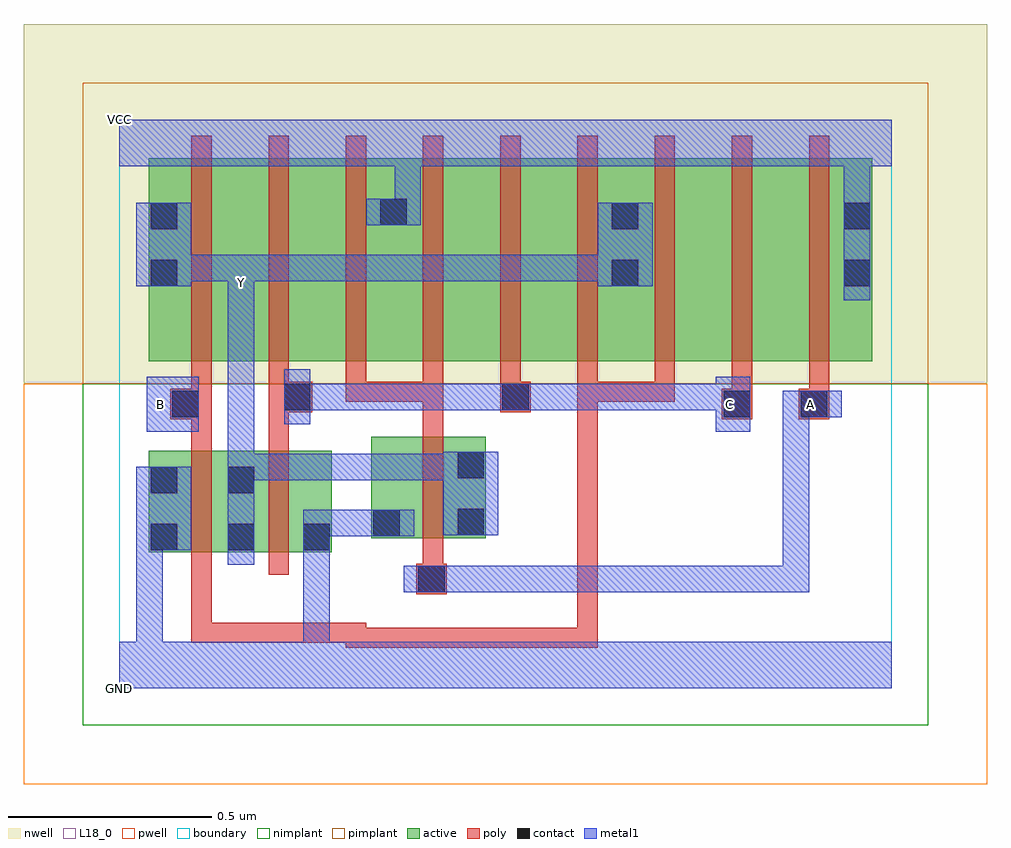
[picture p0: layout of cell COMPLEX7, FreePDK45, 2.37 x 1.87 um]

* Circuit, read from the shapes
.subckt COMPLEX7 A B C GND VCC Y
M1 Y B GND VSUBS nfet w=0.25u l=0.05u
M2 GND C Y VSUBS nfet w=0.25u l=0.05u
M3 Y A GND VSUBS nfet w=0.25u l=0.05u
M4 n1 B Y n2 pfet w=0.5u l=0.05u
M5 n3 C n1 n2 pfet w=0.5u l=0.05u
M6 VCC A n3 n2 pfet w=0.5u l=0.05u
M7 n4 A VCC n2 pfet w=0.5u l=0.05u
M8 n5 C n4 n2 pfet w=0.5u l=0.05u
M9 Y B n5 n2 pfet w=0.5u l=0.05u
M10 n6 B Y n2 pfet w=0.5u l=0.05u
M11 n7 C n6 n2 pfet w=0.5u l=0.05u
M12 VCC A n7 n2 pfet w=0.5u l=0.05u
.ends

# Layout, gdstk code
import gdstk
lib = gdstk.Library(unit=1e-6, precision=1e-09)
def R(c, l, rs):  # rectangles x0, y0, x1, y1
    for r in rs: c.add(gdstk.rectangle(r[:2], r[2:], *l))
def A(c, l, x, y, w, h, nx, ny, dx, dy):  # array of equal rectangles
    R(c, l, [(x+i*dx, y+j*dy, x+i*dx+w, y+j*dy+h) for i in range(nx) for j in range(ny)])
active = (1, 0)
pwell = (2, 0)
nwell = (3, 0)
nimplant = (4, 0)
pimplant = (5, 0)
poly = (9, 0)
contact = (10, 0)
metal1 = (11, 0)
L18_0 = (18, 0)
boundary = (235, 0)

complex7 = lib.new_cell('COMPLEX7')
A(complex7, active, 0.297, 0.805, 0.19, 0.5, 3, 1, 0.57, 0)
A(complex7, active, 0.487, 0.805, 0.225, 0.5, 3, 1, 0.57, 0)
R(complex7, active, [(0.072,0.335,0.147,0.585), (0.072,0.335,0.337,0.585), (0.262,0.335,0.522,0.585), (0.262,0.335,0.337,0.55), (0.447,0.335,0.522,0.585), (0.62,0.37,0.695,0.62), (0.62,0.37,0.902,0.62), (0.827,0.37,0.902,0.62), (0.072,0.805,0.297,1.305), (0.072,0.805,0.177,1.2), (0.637,0.805,0.712,1.305), (0.637,0.805,0.867,1.305), (1.207,0.805,1.437,1.305), (1.207,0.805,1.282,1.2), (1.777,0.805,1.852,1.305)])
R(complex7, pwell, [(-0.235,-0.235,2.135,0.75)])
R(complex7, nwell, [(-0.235,0.75,2.135,1.635)])
R(complex7, nimplant, [(-0.09,-0.09,1.99,0.75)])
R(complex7, pimplant, [(-0.09,0.75,1.99,1.49)])
A(complex7, poly, 0.367, 0.705, 0.05, 0.095, 6, 1, 0.19, 0)
A(complex7, poly, 0.177, 0.75, 0.05, 0.61, 9, 1, 0.19, 0)
R(complex7, poly, [(0.557,0.1,0.74,0.15), (0.557,0.1,0.607,0.162), (0.69,0.1,0.74,0.15), (0.69,0.1,0.74,0.15), (0.69,0.1,0.74,0.15), (0.69,0.1,1.045,0.15), (0.995,0.1,1.045,0.15), (0.995,0.1,1.045,0.15), (0.995,0.1,1.045,0.15), (0.995,0.1,1.045,0.15), (0.995,0.1,1.045,0.15), (0.995,0.1,1.045,0.15), (0.995,0.1,1.045,0.15), (0.995,0.1,1.177,0.15), (1.127,0.1,1.177,0.15), (1.127,0.1,1.177,0.15), (1.127,0.1,1.177,0.15), (1.127,0.1,1.177,0.15), (1.127,0.1,1.177,0.15), (1.127,0.1,1.177,0.755), (0.177,0.112,0.227,0.162), (0.177,0.112,0.227,0.162), (0.177,0.112,0.227,0.162), (0.177,0.112,0.475,0.162), (0.177,0.112,0.227,0.33), (0.425,0.112,0.475,0.162), (0.425,0.112,0.475,0.162), (0.425,0.112,0.475,0.162), (0.425,0.112,0.607,0.162), (0.557,0.112,0.607,0.162), (0.557,0.112,0.607,0.162), (0.73,0.232,0.805,0.307), (0.747,0.257,0.797,0.365), (0.177,0.28,0.227,0.64), (0.367,0.28,0.417,0.64), (0.747,0.315,0.797,0.675), (0.177,0.59,0.227,0.712), (0.367,0.59,0.417,0.73), (0.747,0.625,0.797,0.755), (0.125,0.662,0.227,0.737), (1.482,0.662,1.557,0.737), (1.672,0.662,1.747,0.737), (0.367,0.68,0.475,0.755), (0.937,0.68,1.012,0.755), (0.177,0.687,0.227,0.8), (1.507,0.687,1.557,0.8), (1.697,0.687,1.747,0.8), (0.557,0.705,0.607,0.755), (0.557,0.705,0.797,0.755), (0.747,0.705,0.797,0.755), (0.747,0.705,0.797,0.755), (0.747,0.705,0.797,0.755), (1.127,0.705,1.177,0.755), (1.127,0.705,1.367,0.755), (1.317,0.705,1.367,0.755), (1.317,0.705,1.367,0.755), (1.317,0.705,1.367,0.755)])
R(complex7, contact, [(0.735,0.237,0.8,0.302), (0.077,0.34,0.142,0.405), (0.267,0.34,0.332,0.405), (0.452,0.34,0.517,0.405), (0.625,0.375,0.69,0.44), (0.832,0.377,0.897,0.442), (0.077,0.48,0.142,0.545), (0.267,0.48,0.332,0.545), (0.832,0.517,0.897,0.582), (0.13,0.667,0.195,0.732), (1.487,0.667,1.552,0.732), (1.677,0.667,1.742,0.732), (0.405,0.685,0.47,0.75), (0.942,0.685,1.007,0.75), (0.077,0.99,0.142,1.055), (1.212,0.99,1.277,1.055), (1.782,0.99,1.847,1.055), (0.077,1.13,0.142,1.195), (1.212,1.13,1.277,1.195), (1.782,1.13,1.847,1.195), (0.642,1.14,0.707,1.205)])
R(complex7, metal1, [(0,0,1.9,0.115), (0.042,0.05,0.107,0.115), (0.042,0.05,0.107,0.115), (0.042,0.05,0.107,0.115), (0.042,0.05,0.107,0.115), (0.042,0.05,0.107,0.405), (0.452,0.05,0.517,0.115), (0.452,0.05,0.517,0.115), (0.452,0.05,0.517,0.115), (0.452,0.05,0.517,0.115), (0.452,0.05,0.517,0.115), (0.452,0.05,0.517,0.115), (0.452,0.05,0.517,0.37), (0.7,0.237,0.835,0.302), (0.77,0.237,0.835,0.302), (0.77,0.237,0.835,0.302), (0.77,0.237,1.07,0.302), (1.005,0.237,1.07,0.302), (1.005,0.237,1.07,0.302), (1.005,0.237,1.07,0.302), (1.005,0.237,1.07,0.302), (1.005,0.237,1.07,0.302), (1.005,0.237,1.07,0.302), (1.005,0.237,1.07,0.302), (1.005,0.237,1.257,0.302), (1.192,0.237,1.257,0.302), (1.192,0.237,1.257,0.302), (1.192,0.237,1.257,0.302), (1.192,0.237,1.395,0.302), (1.33,0.237,1.395,0.302), (1.33,0.237,1.56,0.302), (1.495,0.237,1.56,0.302), (1.495,0.237,1.56,0.302), (1.495,0.237,1.56,0.302), (1.495,0.237,1.697,0.302), (1.632,0.237,1.697,0.302), (1.632,0.237,1.697,0.732), (0.267,0.305,0.332,0.58), (0.452,0.305,0.517,0.44), (0.042,0.34,0.107,0.405), (0.042,0.34,0.107,0.405), (0.042,0.34,0.177,0.545), (0.452,0.375,0.607,0.44), (0.542,0.375,0.607,0.44), (0.542,0.375,0.655,0.44), (0.59,0.375,0.725,0.44), (0.797,0.377,0.932,0.582), (0.267,0.512,0.47,0.577), (0.405,0.512,0.47,0.577), (0.405,0.512,0.47,0.577), (0.405,0.512,0.47,0.577), (0.405,0.512,0.607,0.577), (0.542,0.512,0.607,0.577), (0.542,0.512,0.655,0.577), (0.59,0.512,0.655,0.577), (0.59,0.512,0.745,0.577), (0.68,0.512,0.745,0.577), (0.68,0.512,0.862,0.577), (0.267,0.515,0.332,0.997), (0.067,0.632,0.195,0.767), (1.467,0.632,1.552,0.767), (0.405,0.65,0.47,0.785), (1.632,0.667,1.697,0.732), (1.632,0.667,1.697,0.732), (1.632,0.667,1.777,0.732), (0.405,0.685,0.47,0.75), (0.405,0.685,0.47,0.75), (0.405,0.685,0.607,0.75), (0.542,0.685,0.607,0.75), (0.542,0.685,0.655,0.75), (0.59,0.685,0.655,0.75), (0.59,0.685,0.792,0.75), (0.727,0.685,0.792,0.75), (0.727,0.685,0.792,0.75), (0.727,0.685,0.792,0.75), (0.727,0.685,0.972,0.75), (0.907,0.685,1.042,0.75), (0.977,0.685,1.07,0.75), (1.005,0.685,1.07,0.75), (1.005,0.685,1.207,0.75), (1.142,0.685,1.207,0.75), (1.142,0.685,1.207,0.75), (1.142,0.685,1.207,0.75), (1.142,0.685,1.395,0.75), (1.33,0.685,1.395,0.75), (1.33,0.685,1.395,0.75), (1.33,0.685,1.395,0.75), (1.33,0.685,1.532,0.75), (0.267,0.932,0.332,1.067), (1.782,0.955,1.847,1.23), (0.042,0.99,0.177,1.195), (1.177,0.99,1.312,1.195), (0.112,1.002,0.332,1.067), (0.267,1.002,0.332,1.067), (0.267,1.002,0.332,1.067), (0.267,1.002,0.332,1.067), (0.267,1.002,0.332,1.067), (0.267,1.002,0.47,1.067), (0.405,1.002,0.47,1.067), (0.405,1.002,0.47,1.067), (0.405,1.002,0.47,1.067), (0.405,1.002,0.607,1.067), (0.542,1.002,0.607,1.067), (0.542,1.002,0.655,1.067), (0.59,1.002,0.655,1.067), (0.59,1.002,0.792,1.067), (0.727,1.002,0.792,1.067), (0.727,1.002,0.792,1.067), (0.727,1.002,0.792,1.067), (0.727,1.002,0.98,1.067), (0.915,1.002,0.98,1.067), (0.915,1.002,0.98,1.067), (0.915,1.002,0.98,1.067), (0.915,1.002,1.242,1.067), (1.177,1.002,1.242,1.067), (1.177,1.002,1.242,1.067), (0.607,1.14,0.742,1.205), (0.677,1.14,0.742,1.35), (1.782,1.165,1.847,1.35), (0,1.285,1.9,1.4)])
R(complex7, L18_0, [(0,0,1.9,0.115), (0.042,0.05,0.107,0.115), (0.042,0.05,0.107,0.115), (0.042,0.05,0.107,0.115), (0.042,0.05,0.107,0.115), (0.042,0.05,0.107,0.405), (0.452,0.05,0.517,0.115), (0.452,0.05,0.517,0.115), (0.452,0.05,0.517,0.115), (0.452,0.05,0.517,0.115), (0.452,0.05,0.517,0.115), (0.452,0.05,0.517,0.115), (0.452,0.05,0.517,0.37), (0.7,0.237,0.835,0.302), (0.77,0.237,0.835,0.302), (0.77,0.237,0.835,0.302), (0.77,0.237,1.07,0.302), (1.005,0.237,1.07,0.302), (1.005,0.237,1.07,0.302), (1.005,0.237,1.07,0.302), (1.005,0.237,1.07,0.302), (1.005,0.237,1.07,0.302), (1.005,0.237,1.07,0.302), (1.005,0.237,1.07,0.302), (1.005,0.237,1.257,0.302), (1.192,0.237,1.257,0.302), (1.192,0.237,1.257,0.302), (1.192,0.237,1.257,0.302), (1.192,0.237,1.395,0.302), (1.33,0.237,1.395,0.302), (1.33,0.237,1.56,0.302), (1.495,0.237,1.56,0.302), (1.495,0.237,1.56,0.302), (1.495,0.237,1.56,0.302), (1.495,0.237,1.697,0.302), (1.632,0.237,1.697,0.302), (1.632,0.237,1.697,0.732), (0.267,0.305,0.332,0.58), (0.452,0.305,0.517,0.44), (0.042,0.34,0.107,0.405), (0.042,0.34,0.107,0.405), (0.042,0.34,0.177,0.545), (0.452,0.375,0.607,0.44), (0.542,0.375,0.607,0.44), (0.542,0.375,0.655,0.44), (0.59,0.375,0.725,0.44), (0.797,0.377,0.932,0.582), (0.267,0.512,0.47,0.577), (0.405,0.512,0.47,0.577), (0.405,0.512,0.47,0.577), (0.405,0.512,0.47,0.577), (0.405,0.512,0.607,0.577), (0.542,0.512,0.607,0.577), (0.542,0.512,0.655,0.577), (0.59,0.512,0.655,0.577), (0.59,0.512,0.745,0.577), (0.68,0.512,0.745,0.577), (0.68,0.512,0.862,0.577), (0.267,0.515,0.332,0.997), (0.067,0.632,0.195,0.767), (1.467,0.632,1.552,0.767), (0.405,0.65,0.47,0.785), (0.067,0.667,0.132,0.732), (1.467,0.667,1.532,0.732), (1.632,0.667,1.697,0.732), (1.632,0.667,1.697,0.732), (1.632,0.667,1.777,0.732), (1.667,0.667,1.732,0.732), (0.405,0.685,0.47,0.75), (0.405,0.685,0.47,0.75), (0.405,0.685,0.607,0.75), (0.542,0.685,0.607,0.75), (0.542,0.685,0.655,0.75), (0.59,0.685,0.655,0.75), (0.59,0.685,0.792,0.75), (0.727,0.685,0.792,0.75), (0.727,0.685,0.792,0.75), (0.727,0.685,0.792,0.75), (0.727,0.685,0.972,0.75), (0.907,0.685,1.042,0.75), (0.977,0.685,1.07,0.75), (1.005,0.685,1.07,0.75), (1.005,0.685,1.207,0.75), (1.142,0.685,1.207,0.75), (1.142,0.685,1.207,0.75), (1.142,0.685,1.207,0.75), (1.142,0.685,1.395,0.75), (1.33,0.685,1.395,0.75), (1.33,0.685,1.395,0.75), (1.33,0.685,1.395,0.75), (1.33,0.685,1.532,0.75), (0.267,0.932,0.332,1.067), (1.782,0.955,1.847,1.23), (0.267,0.967,0.332,1.032), (0.042,0.99,0.177,1.195), (1.177,0.99,1.312,1.195), (0.112,1.002,0.332,1.067), (0.267,1.002,0.332,1.067), (0.267,1.002,0.332,1.067), (0.267,1.002,0.332,1.067), (0.267,1.002,0.332,1.067), (0.267,1.002,0.47,1.067), (0.405,1.002,0.47,1.067), (0.405,1.002,0.47,1.067), (0.405,1.002,0.47,1.067), (0.405,1.002,0.607,1.067), (0.542,1.002,0.607,1.067), (0.542,1.002,0.655,1.067), (0.59,1.002,0.655,1.067), (0.59,1.002,0.792,1.067), (0.727,1.002,0.792,1.067), (0.727,1.002,0.792,1.067), (0.727,1.002,0.792,1.067), (0.727,1.002,0.98,1.067), (0.915,1.002,0.98,1.067), (0.915,1.002,0.98,1.067), (0.915,1.002,0.98,1.067), (0.915,1.002,1.242,1.067), (1.177,1.002,1.242,1.067), (1.177,1.002,1.242,1.067), (0.607,1.14,0.742,1.205), (0.677,1.14,0.742,1.35), (1.782,1.165,1.847,1.35), (0,1.285,1.9,1.4)])
R(complex7, boundary, [(0,0,1.9,1.4)])
complex7.add(gdstk.Label('A', (1.7,0.7), layer=11, texttype=0))
complex7.add(gdstk.Label('B', (0.1,0.7), layer=11, texttype=0))
complex7.add(gdstk.Label('C', (1.5,0.7), layer=11, texttype=0))
complex7.add(gdstk.Label('Y', (0.3,1), layer=11, texttype=0))
complex7.add(gdstk.Label('VCC', (0,1.4), layer=11, texttype=0))
complex7.add(gdstk.Label('GND', (0,0), layer=11, texttype=0))

lib.write_gds('COMPLEX7.gds')
